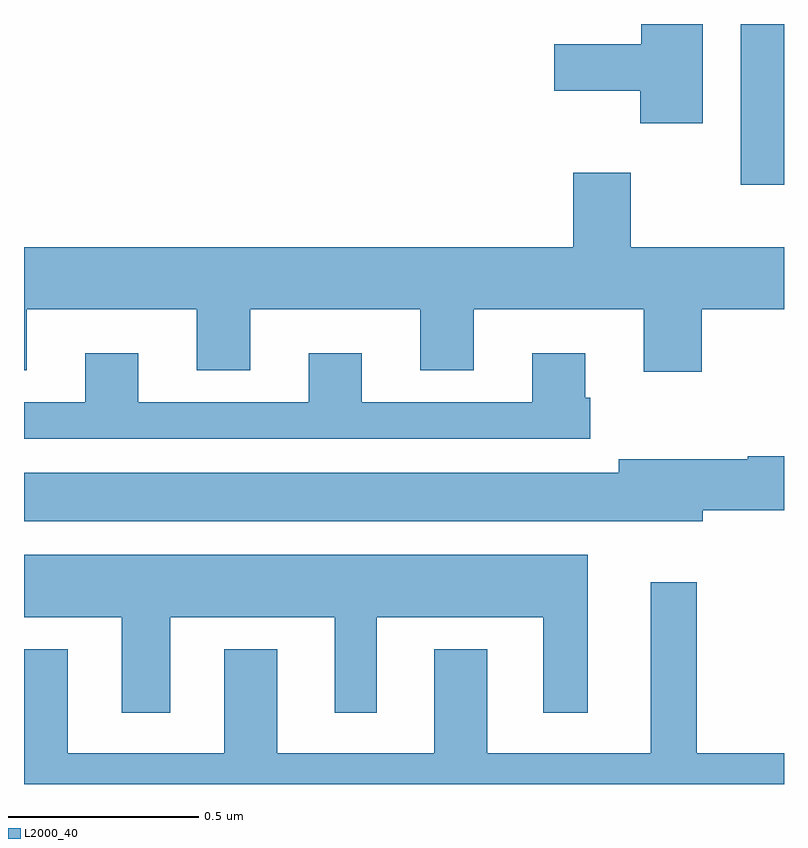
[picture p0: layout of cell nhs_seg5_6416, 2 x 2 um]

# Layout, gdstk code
import gdstk
lib = gdstk.Library(unit=1e-6, precision=1e-09)
def R(c, l, rs):  # rectangles x0, y0, x1, y1
    for r in rs: c.add(gdstk.rectangle(r[:2], r[2:], *l))
def P(c, l, *ps):  # polygons
    for p in ps: c.add(gdstk.Polygon(p, *l))
L2000_40 = (2000, 40)

nhs_seg5_6416 = lib.new_cell('nhs_seg5_6416')
R(nhs_seg5_6416, L2000_40, [(196.886,902.376,197,902.799)])
P(nhs_seg5_6416, L2000_40, [(196.786,902.799),(196.624,902.799),(196.624,902.746),(196.395,902.746),(196.395,902.624),(196.622,902.624),(196.622,902.538),(196.786,902.538)],
  [(196.784,902.048),(197,902.048),(197,902.212),(196.597,902.212),(196.597,902.407),(196.445,902.407),(196.445,902.212),(195,902.212),(195,901.888),(195.007,901.888),(195.007,902.048),(195.455,902.048),(195.455,901.888),(195.595,901.888),(195.595,902.048),(196.043,902.048),(196.043,901.888),(196.183,901.888),(196.183,902.048),(196.631,902.048),(196.631,901.884),(196.784,901.884)],
  [(196.49,901.815),(196.477,901.815),(196.477,901.933),(196.337,901.933),(196.337,901.803),(195.889,901.803),(195.889,901.933),(195.749,901.933),(195.749,901.803),(195.301,901.803),(195.301,901.933),(195.161,901.933),(195.161,901.803),(195,901.803),(195,901.707),(196.49,901.707)],
  [(196.786,901.52),(197,901.52),(197,901.662),(196.904,901.662),(196.904,901.654),(196.565,901.654),(196.565,901.618),(195,901.618),(195,901.49),(196.786,901.49)],
  [(195.385,901.238),(195.818,901.238),(195.818,900.987),(195.928,900.987),(195.928,901.238),(196.367,901.238),(196.367,900.987),(196.483,900.987),(196.483,901.402),(195,901.402),(195,901.238),(195.257,901.238),(195.257,900.987),(195.385,900.987)],
  [(197,900.88),(196.771,900.88),(196.771,901.33),(196.649,901.33),(196.649,900.88),(196.219,900.88),(196.219,901.153),(196.079,901.153),(196.079,900.88),(195.667,900.88),(195.667,901.153),(195.527,901.153),(195.527,900.88),(195.115,900.88),(195.115,901.153),(195,901.153),(195,900.799),(197,900.799)])

lib.write_gds('nhs_seg5_6416.gds')
